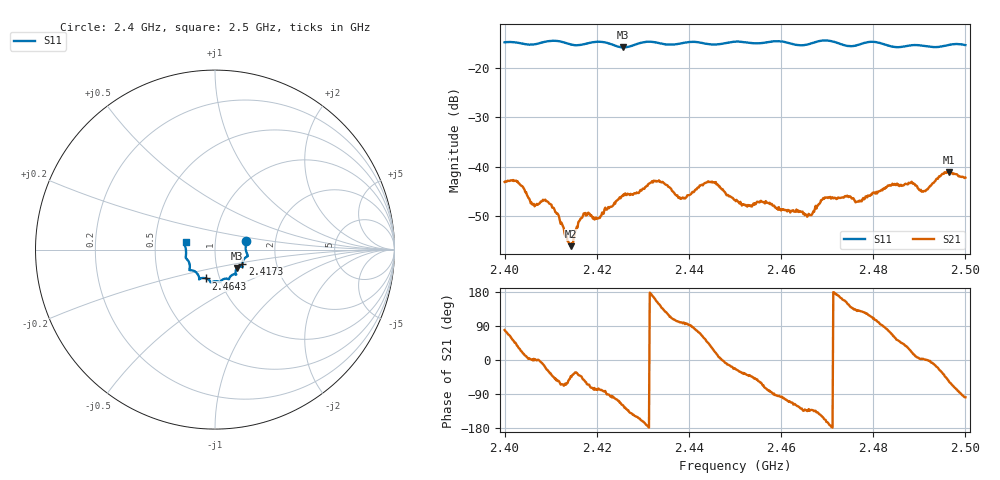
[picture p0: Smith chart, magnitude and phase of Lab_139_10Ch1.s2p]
# Hz S RI R 50
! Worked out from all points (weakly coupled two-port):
!   601 points, 2.4 GHz to 2.5 GHz, reference 50 ohm
!   highest |S21| = -41.04 dB at 2.4965 GHz (marker M1); lowest = -56.0 dB at 2.4143 GHz (marker M2)
!   lowest |S11| = -15.9 dB at 2.4257 GHz (marker M3), VSWR 1.38, Z = 62.4 - j13.2 ohm
!   |S11| at or under -10 dB: start of sweep to end of sweep
!   S12 and S22 are empty: the file has one direction only
!   S11 on the Smith chart (normalised r, x): 2.4 GHz: 1.41, +0.14; 2.4173 GHz: 1.34, -0.23; 2.4643 GHz: 0.86, -0.28; 2.5 GHz: 0.72, +0.06
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2.4e9  0.1735 0.0486  0.00133 0.0069  0 0  0 0
2.402833e9  0.175 0.0352  0.00573 0.00424  0 0  0 0
2.406167e9  0.171 -0.000543  0.00413 -9.05e-05  0 0  0 0
2.409667e9  0.1826 -0.0323  0.00363 -0.00221  0 0  0 0
2.414333e9  0.164 -0.0498  0.00115 -0.00108  0 0  0 0
2.416667e9  0.1529 -0.0747  0.0022 -0.00208  0 0  0 0
2.417333e9  0.152 -0.0822  0.00198 -0.00274  0 0  0 0
2.4205e9  0.1541 -0.0978  0.000699 -0.00297  0 0  0 0
2.425667e9  0.1227 -0.1027  -0.00246 -0.00443  0 0  0 0
2.433333e9  0.1124 -0.1373  -0.00616 0.00365  0 0  0 0
2.438667e9  0.0806 -0.1579  -0.000581 0.00486  0 0  0 0
2.445333e9  0.0525 -0.1628  0.00626 0.00307  0 0  0 0
2.45e9  0.0285 -0.1808  0.00427 -0.00175  0 0  0 0
2.464333e9  -0.0498 -0.1605  -0.00218 -0.00274  0 0  0 0
2.466667e9  -0.076 -0.1592  -0.00218 -0.00245  0 0  0 0
2.4695e9  -0.0885 -0.166  -0.00452 -0.0019  0 0  0 0
2.476667e9  -0.1228 -0.1166  -0.00295 0.00335  0 0  0 0
2.483333e9  -0.1403 -0.0899  0.00148 0.00624  0 0  0 0
2.488167e9  -0.1605 -0.0496  0.00636 0.00274  0 0  0 0
2.491e9  -0.1622 -0.0345  0.00569 0.000182  0 0  0 0
2.4965e9  -0.1682 0.0239  0.00471 -0.00752  0 0  0 0
2.5e9  -0.1633 0.0425  -0.00114 -0.00768  0 0  0 0
